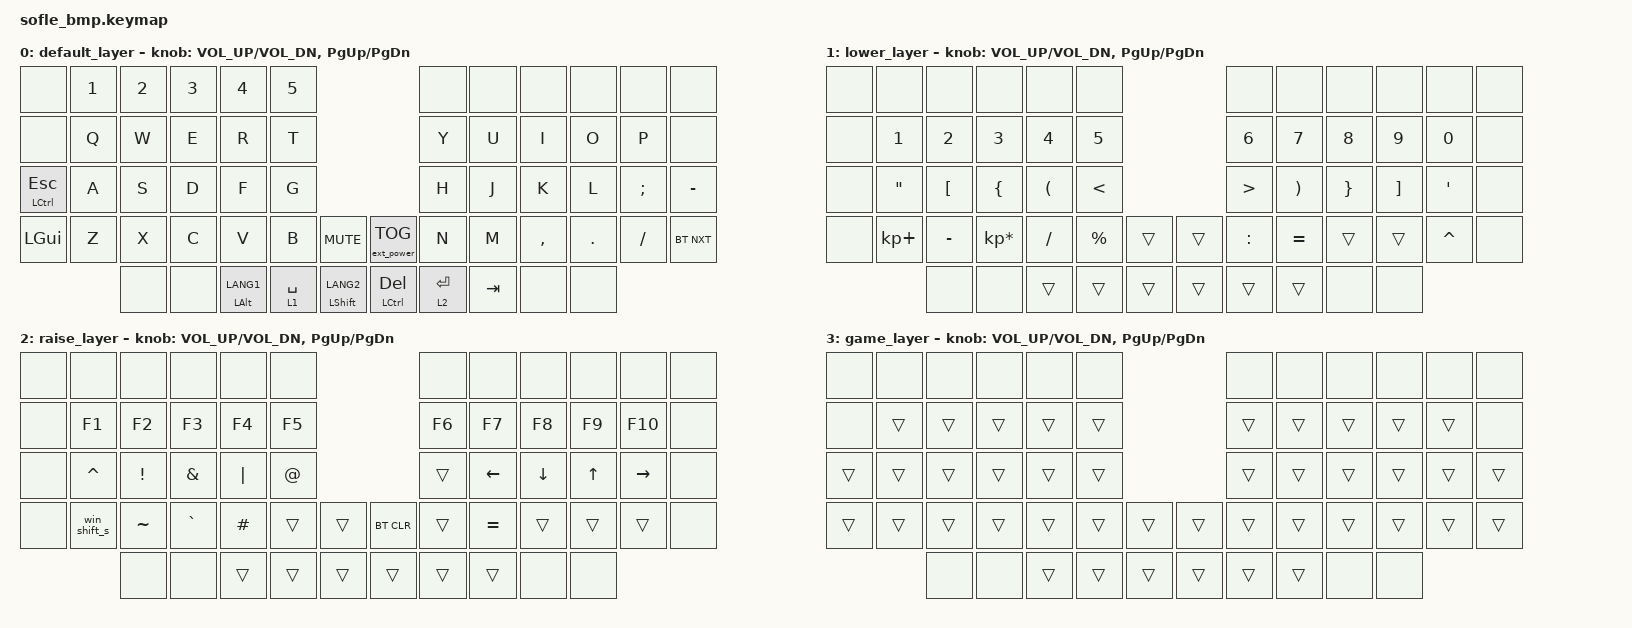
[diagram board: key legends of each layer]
/*
 * Copyright (c) 2020 The ZMK Contributors
 *
 * SPDX-License-Identifier: MIT
 */

#include <behaviors.dtsi>
#include <dt-bindings/zmk/keys.h>
#include <dt-bindings/zmk/bt.h>
#include <dt-bindings/zmk/ext_power.h>

/ {
    behaviors {
        quick_mod_tap: quick_mod_tap {
            compatible = "zmk,behavior-hold-tap";
            #binding-cells = <2>;
            flavor = "balanced";
            tapping-term-ms = <220>;
            quick-tap-ms = <250>;
            display-name = "Quick-Mod-Tap";
            bindings = <&kp>, <&kp>;
        };

        quick_layer_tap: quick_layer_tap {
            compatible = "zmk,behavior-hold-tap";
            #binding-cells = <2>;
            flavor = "balanced";
            tapping-term-ms = <220>;
            quick-tap-ms = <250>;
            display-name = "Quick-Layer-Tap";
            bindings = <&mo>, <&kp>;
        };

        mt_hold_preferred: mt_hold_preferred {
            compatible = "zmk,behavior-hold-tap";
            #binding-cells = <2>;
            flavor = "hold-preferred";
            tapping-term-ms = <220>;
            display-name = "H-Mod-Tap";
            bindings = <&kp>, <&kp>;
        };

        mt_balanced: mt_balanced {
            compatible = "zmk,behavior-hold-tap";
            #binding-cells = <2>;
            flavor = "balanced";
            tapping-term-ms = <220>;
            display-name = "B-Mod-Tap";
            bindings = <&kp>, <&kp>;
        };

        mt_tap_preferred: mt_tap_preferred {
            compatible = "zmk,behavior-hold-tap";
            #binding-cells = <2>;
            flavor = "tap-preferred";
            tapping-term-ms = <220>;
            display-name = "T-Mod-Tap";
            bindings = <&kp>, <&kp>;
        };

        lt_hold_preferred: lt_hold_preferred {
            compatible = "zmk,behavior-hold-tap";
            #binding-cells = <2>;
            flavor = "hold-preferred";
            tapping-term-ms = <220>;
            display-name = "H-Layer-Tap";
            bindings = <&mo>, <&kp>;
        };

        lt_balanced: lt_balanced {
            compatible = "zmk,behavior-hold-tap";
            #binding-cells = <2>;
            flavor = "balanced";
            tapping-term-ms = <220>;
            display-name = "B-Layer-Tap";
            bindings = <&mo>, <&kp>;
        };

        lt_tap_preferred: lt_tap_preferred {
            compatible = "zmk,behavior-hold-tap";
            #binding-cells = <2>;
            flavor = "tap-preferred";
            tapping-term-ms = <220>;
            display-name = "T-Layer-Tap";
            bindings = <&mo>, <&kp>;
        };
    };

    macros {
        win_shift_s: win_shift_s {
            compatible = "zmk,behavior-macro";
            #binding-cells = <0>;
            display-name = "Win Shift S";
            wait-ms = <0>;
            tap-ms = <40>;
            bindings = <
                &macro_press &kp LGUI &kp LSHFT
                &macro_tap &kp S
                &macro_release &kp LSHFT &kp LGUI
            >;
        };
    };

    keymap {
        compatible = "zmk,keymap";

        default_layer {
// ------------------------------------------------------------------------------------------------------------
// |       |  1  |  2  |  3   |  4   |  5   |                         |      |       |       |      |       |       |
// |       |  Q  |  W  |  E   |  R   |  T   |                         |  Y   |  U    |  I    |  O   |   P   |       |
// | C/ESC |  A  |  S  |  D   |  F   |  G   |                         |  H   |  J    |  K    |  L   |   ;   |   -   |
// | GUI   |  Z  |  X  |  C   |  V   |  B   |  MUTE  |        | ExtPw |  N   |  M    |  ,    |  .   |   /   | BT_NXT|
//               |     |      | LA/L1| Spc/L| LS/L2  |        | LC/DEL| Ent/R| TAB   |       |      |
            bindings = <
&none &kp N1 &kp N2   &kp N3   &kp N4    &kp N5                              &none &none    &none    &none   &none   &none
&none   &kp Q  &kp W    &kp E    &kp R     &kp T                               &kp Y  &kp U     &kp I     &kp O    &kp P    &none
&mt LCTRL ESC &kp A  &kp S    &kp D    &kp F     &kp G                               &kp H  &kp J     &kp K     &kp L    &kp SEMI &kp MINUS
&kp LGUI      &kp Z  &kp X    &kp C    &kp V     &kp B  &kp C_MUTE &ext_power EP_TOG &kp N  &kp M     &kp COMMA &kp DOT  &kp FSLH &bt BT_NXT
                 &none &none &mt LALT LANG1 &lt 1 SPACE &mt_hold_preferred LSHFT LANG2    &mt LCTRL DEL &lt 2 RET &kp TAB &none &none
            >;

            sensor-bindings = <&inc_dec_kp C_VOL_UP C_VOL_DN &inc_dec_kp PG_UP PG_DN>;
        };

        lower_layer {
// TODO: Some binds are waiting for shifted keycode support.
// ------------------------------------------------------------------------------------------------------------
// |       |     |     |      |      |      |                   |      |       |       |      |       |       |
// |       |   1 |   2 |   3  |   4  |   5  |                   |   6  |   7   |   8   |   9  |    0  |       |
// |       |  "  |  [  |  {   |  (   |  <   |                   |  >   |  )    |  }    |  ]   |   '   |       |
// |       |  +  |  -  |  *   |  /   |  %   |        |  |       |  :   |  =    |  ,    |  .   |   ^   |       |
//               |     |      |      |      |        |  |       |      |       |       |      |
            bindings = <
&none     &none     &none     &none       &none     &none                    &none     &none    &none           &none     &none     &none
&none     &kp N1    &kp N2    &kp N3      &kp N4    &kp N5                    &kp N6    &kp N7   &kp N8          &kp N9    &kp N0    &none
&none     &kp DQT   &kp LBKT  &kp LBRC    &kp LPAR  &kp LT                   &kp GT    &kp RPAR &kp RBRC        &kp RBKT  &kp SQT   &none
&none     &kp KP_PLUS &kp MINUS &kp KP_MULTIPLY &kp FSLH &kp PRCNT  &trans   &trans &kp COLON &kp EQUAL &trans        &trans    &kp CARET &none
                    &none     &none       &trans    &trans    &trans   &trans &trans    &trans   &none           &none
            >;

            sensor-bindings = <&inc_dec_kp C_VOL_UP C_VOL_DN &inc_dec_kp PG_UP PG_DN>;
        };

        raise_layer {
// ------------------------------------------------------------------------------------------------------------
// |     |      |      |       |       |      |                |      |      |       |      |       |       |
// |     | F1   | F2   | F3    | F4    | F5   |                | F6   | F7   | F8    | F9   | F10   |       |
// |     | ^    | !    | &     | |     | @    |                |      | <-   | down  | up   | ->    |       |
// |     | W+S+S|  ~   |  `    |  #    |      | BT_CLR|  |      |      |  =   |       |      |       |       |
//              |      |       |       |      |      |  |      |      |      |       |      |
            bindings = <
&none      &none        &none        &none        &none        &none                    &none     &none     &none    &none     &none   &none
&none      &kp F1       &kp F2       &kp F3       &kp F4       &kp F5                   &kp F6    &kp F7    &kp F8   &kp F9    &kp F10 &none
&none      &kp CARET    &kp EXCL     &kp AMPS     &kp PIPE     &kp AT                   &trans    &kp LEFT  &kp DOWN &kp UP    &kp RIGHT &none      
&none      &win_shift_s &kp TILDE    &kp GRAVE    &kp HASH     &trans  &trans &bt BT_CLR &trans    &kp EQUAL &trans   &trans    &trans  &none
                        &none        &none        &trans       &trans  &trans   &trans  &trans    &trans    &none    &none
            >;

            sensor-bindings = <&inc_dec_kp C_VOL_UP C_VOL_DN &inc_dec_kp PG_UP PG_DN>;
        };

        game_layer {
            bindings = <
&none  &none  &none  &none  &none  &none                              &none  &none  &none  &none  &none  &none
&none  &trans &trans &trans &trans &trans                             &trans &trans &trans &trans &trans &none
&trans &trans &trans &trans &trans &trans                             &trans &trans &trans &trans &trans &trans
&trans &trans &trans &trans &trans &trans &trans &trans              &trans &trans &trans &trans &trans &trans
              &none  &none  &trans &trans &trans &trans               &trans &trans &none  &none
            >;

            sensor-bindings = <&inc_dec_kp C_VOL_UP C_VOL_DN &inc_dec_kp PG_UP PG_DN>;
        };
    };
};

&mt {
    flavor = "balanced";
    tapping-term-ms = <220>;
};

&lt {
    flavor = "balanced";
    tapping-term-ms = <220>;
};
